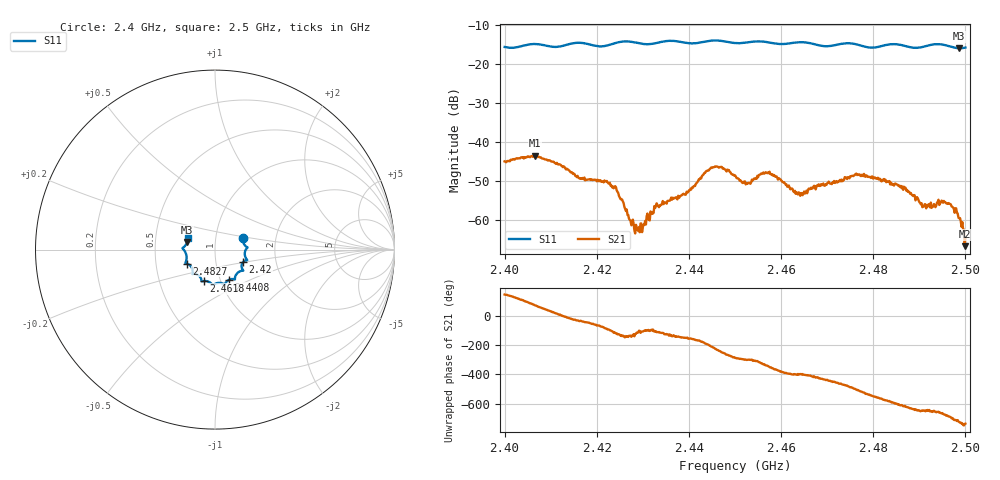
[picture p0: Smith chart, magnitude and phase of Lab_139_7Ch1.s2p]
# Hz S RI R 50
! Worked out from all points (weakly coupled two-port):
!   601 points, 2.4 GHz to 2.5 GHz, reference 50 ohm
!   highest |S21| = -43.42 dB at 2.4067 GHz (marker M1); lowest = -66.6 dB at 2.4998 GHz (marker M2)
!   lowest |S11| = -15.9 dB at 2.4987 GHz (marker M3), VSWR 1.38, Z = 36.5 + j3.22 ohm
!   |S11| at or under -10 dB: start of sweep to end of sweep
!   S12 and S22 are empty: the file has one direction only
!   S11 on the Smith chart (normalised r, x): 2.4 GHz: 1.35, +0.17; 2.42 GHz: 1.36, -0.19; 2.4408 GHz: 1.10, -0.38; 2.4618 GHz: 0.83, -0.30; 2.4827 GHz: 0.72, -0.12; 2.5 GHz: 0.73, +0.09
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2.4e9  0.1546 0.0619  -0.00489 0.00294  0 0  0 0
2.406667e9  0.1815 0.0121  0.0018 0.0065  0 0  0 0
2.416667e9  0.1787 -0.0588  0.00285 -0.00185  0 0  0 0
2.42e9  0.1567 -0.069  0.00139 -0.00285  0 0  0 0
2.424e9  0.152 -0.1083  -0.00115 -0.00249  0 0  0 0
2.428667e9  0.1474 -0.1182  -0.000315 -0.000754  0 0  0 0
2.433333e9  0.1118 -0.1531  -0.000516 -0.00143  0 0  0 0
2.440833e9  0.0776 -0.1684  -0.00242 -0.000996  0 0  0 0
2.445333e9  0.0536 -0.1945  -0.00389 0.00283  0 0  0 0
2.45e9  0.0268 -0.1853  0.00107 0.00363  0 0  0 0
2.452833e9  -0.000668 -0.1913  0.00146 0.00264  0 0  0 0
2.457167e9  -0.0185 -0.1906  0.00392 0.00125  0 0  0 0
2.461833e9  -0.0612 -0.175  0.00215 -0.00156  0 0  0 0
2.466667e9  -0.076 -0.1681  0.00153 -0.00205  0 0  0 0
2.4765e9  -0.125 -0.1284  -0.00322 -0.00205  0 0  0 0
2.482667e9  -0.1582 -0.0777  -0.00265 0.002  0 0  0 0
2.483333e9  -0.162 -0.0766  -0.00224 0.00218  0 0  0 0
2.491e9  -0.1682 -0.00942  0.000471 0.00143  0 0  0 0
2.496333e9  -0.1707 0.0168  0.00143 0.000863  0 0  0 0
2.498667e9  -0.1545 0.043  0.00106 -0.000134  0 0  0 0
2.499833e9  -0.1513 0.0605  0.000439 -0.000161  0 0  0 0
2.5e9  -0.1512 0.0629  0.00056 -0.000181  0 0  0 0
